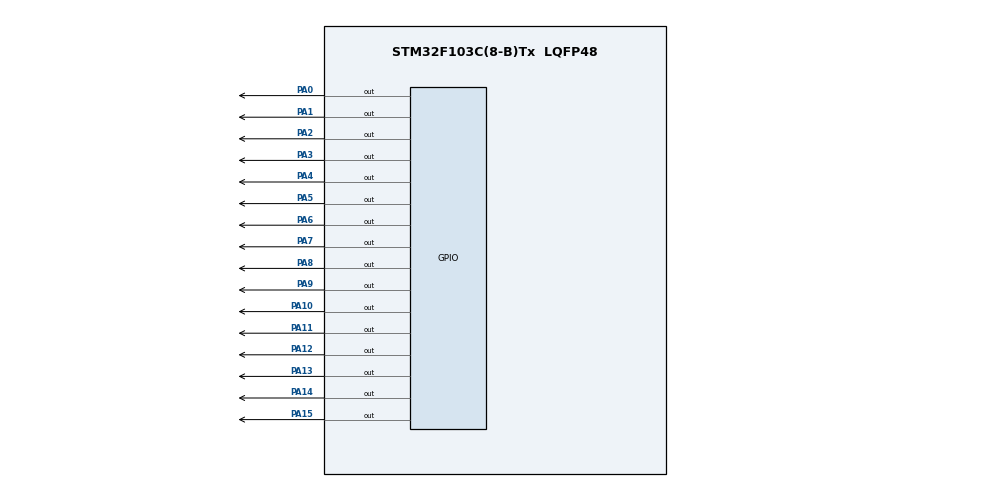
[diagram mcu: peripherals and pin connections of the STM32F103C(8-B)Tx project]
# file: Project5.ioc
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Mcu.Family=STM32F1
Mcu.Name=STM32F103C(8-B)Tx
Mcu.Package=LQFP48
NVIC.PriorityGroup=NVIC_PRIORITYGROUP_4
PA0-WKUP.Signal=GPIO_Output
PA1.Signal=GPIO_Output
PA10.Signal=GPIO_Output
PA11.Signal=GPIO_Output
PA12.Signal=GPIO_Output
PA13.Signal=GPIO_Output
PA14.Signal=GPIO_Output
PA15.Signal=GPIO_Output
PA2.Signal=GPIO_Output
PA3.Signal=GPIO_Output
PA4.Signal=GPIO_Output
PA5.Signal=GPIO_Output
PA6.Signal=GPIO_Output
PA7.Signal=GPIO_Output
PA8.Signal=GPIO_Output
PA9.Signal=GPIO_Output
ProjectManager.HeapSize=0x200
ProjectManager.StackSize=0x400
ProjectManager.TargetToolchain=STM32CubeIDE
RCC.APB1Freq_Value=8000000
RCC.APB2Freq_Value=8000000
board=custom

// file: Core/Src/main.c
/* USER CODE BEGIN Header */
/**
  ******************************************************************************
  * @file           : main.c
  * @brief          : Main program body
  ******************************************************************************
  * @attention
  *
  * Copyright (c) 2025 STMicroelectronics.
  * All rights reserved.
  *
  * This software is licensed under terms that can be found in the LICENSE file
  * in the root directory of this software component.
  * If no LICENSE file comes with this software, it is provided AS-IS.
  *
  ******************************************************************************
  */
/* USER CODE END Header */
#include "main.h"

void SystemClock_Config(void);
static void MX_GPIO_Init(void);

/* USER CODE BEGIN 0 */
void Set_PortA_Pins(uint8_t highByte, uint8_t lowByte)
{
    uint16_t value = (highByte << 8) | lowByte;  // ترکیب high و low
    GPIOA -> ODR = value;  // مستقیم تو رجیستر خروجی پورت بنویس
}
/* USER CODE END 0 */

int main(void)
{

  /* MCU Configuration--------------------------------------------------------*/

  /* Reset of all peripherals, Initializes the Flash interface and the Systick. */
  HAL_Init();

  /* Configure the system clock */
  SystemClock_Config();

  /* Initialize all configured peripherals */
  MX_GPIO_Init();
  /* USER CODE BEGIN 2 */
  int pi = 31415926;
  int floatPoint = 7;
  int digit = 0;

  char sevenSegment[10] = {
		  0b0111111, // 0
		  0b0000110, // 1
		  0b1011011, // 2
		  0b1001111, // 3
		  0b1100110, // 4
		  0b1101101, // 5
		  0b1111101, // 6
		  0b0000111, // 7
		  0b1111111, // 8
		  0b1101111  // 9
  };

  char id = 0b00000001;
//  Set_PortA_Pins(0b11111110, 0b1111101);
//  HAL_Delay(1000);
  /* USER CODE END 2 */

  /* Infinite loop */
  while (1)
  {

    /* USER CODE BEGIN 3 */
	  id = 1;
	  pi = 31415926;
	  for (int i = 0 ; i < 8 ; i++){
		  digit = pi % 10;

		  if(i == floatPoint && !(i <= 0) && !(i >= 8)){
			  Set_PortA_Pins(~id, sevenSegment[digit] | (1 << 7));

		  } else {
			  Set_PortA_Pins(~id, sevenSegment[digit] | 0b00000000);
		  }

		  id = id << 1;

		  pi /= 10;

		  HAL_Delay(5);
	  }
  }
  /* USER CODE END 3 */
}

void SystemClock_Config(void)
{
  RCC_OscInitTypeDef RCC_OscInitStruct = {0};
  RCC_ClkInitTypeDef RCC_ClkInitStruct = {0};

  /** Initializes the RCC Oscillators according to the specified parameters
  * in the RCC_OscInitTypeDef structure.
  */
  RCC_OscInitStruct.OscillatorType = RCC_OSCILLATORTYPE_HSI;
  RCC_OscInitStruct.HSIState = RCC_HSI_ON;
  RCC_OscInitStruct.HSICalibrationValue = RCC_HSICALIBRATION_DEFAULT;
  RCC_OscInitStruct.PLL.PLLState = RCC_PLL_NONE;
  if (HAL_RCC_OscConfig(&RCC_OscInitStruct) != HAL_OK)
  {
    Error_Handler();
  }

  /** Initializes the CPU, AHB and APB buses clocks
  */
  RCC_ClkInitStruct.ClockType = RCC_CLOCKTYPE_HCLK|RCC_CLOCKTYPE_SYSCLK
                              |RCC_CLOCKTYPE_PCLK1|RCC_CLOCKTYPE_PCLK2;
  RCC_ClkInitStruct.SYSCLKSource = RCC_SYSCLKSOURCE_HSI;
  RCC_ClkInitStruct.AHBCLKDivider = RCC_SYSCLK_DIV1;
  RCC_ClkInitStruct.APB1CLKDivider = RCC_HCLK_DIV1;
  RCC_ClkInitStruct.APB2CLKDivider = RCC_HCLK_DIV1;

  if (HAL_RCC_ClockConfig(&RCC_ClkInitStruct, FLASH_LATENCY_0) != HAL_OK)
  {
    Error_Handler();
  }
}

static void MX_GPIO_Init(void)
{
  GPIO_InitTypeDef GPIO_InitStruct = {0};

  /* GPIO Ports Clock Enable */
  __HAL_RCC_GPIOA_CLK_ENABLE();

  /*Configure GPIO pin Output Level */
  HAL_GPIO_WritePin(GPIOA, GPIO_PIN_0|GPIO_PIN_1|GPIO_PIN_2|GPIO_PIN_3
                          |GPIO_PIN_4|GPIO_PIN_5|GPIO_PIN_6|GPIO_PIN_7
                          |GPIO_PIN_8|GPIO_PIN_9|GPIO_PIN_10|GPIO_PIN_11
                          |GPIO_PIN_12|GPIO_PIN_13|GPIO_PIN_14|GPIO_PIN_15, GPIO_PIN_RESET);

  /*Configure GPIO pins : PA0 PA1 PA2 PA3
                           PA4 PA5 PA6 PA7
                           PA8 PA9 PA10 PA11
                           PA12 PA13 PA14 PA15 */
  GPIO_InitStruct.Pin = GPIO_PIN_0|GPIO_PIN_1|GPIO_PIN_2|GPIO_PIN_3
                          |GPIO_PIN_4|GPIO_PIN_5|GPIO_PIN_6|GPIO_PIN_7
                          |GPIO_PIN_8|GPIO_PIN_9|GPIO_PIN_10|GPIO_PIN_11
                          |GPIO_PIN_12|GPIO_PIN_13|GPIO_PIN_14|GPIO_PIN_15;
  GPIO_InitStruct.Mode = GPIO_MODE_OUTPUT_PP;
  GPIO_InitStruct.Pull = GPIO_NOPULL;
  GPIO_InitStruct.Speed = GPIO_SPEED_FREQ_LOW;
  HAL_GPIO_Init(GPIOA, &GPIO_InitStruct);

}

void Error_Handler(void)
{
  __disable_irq();
  while (1)
  {
  }
}
